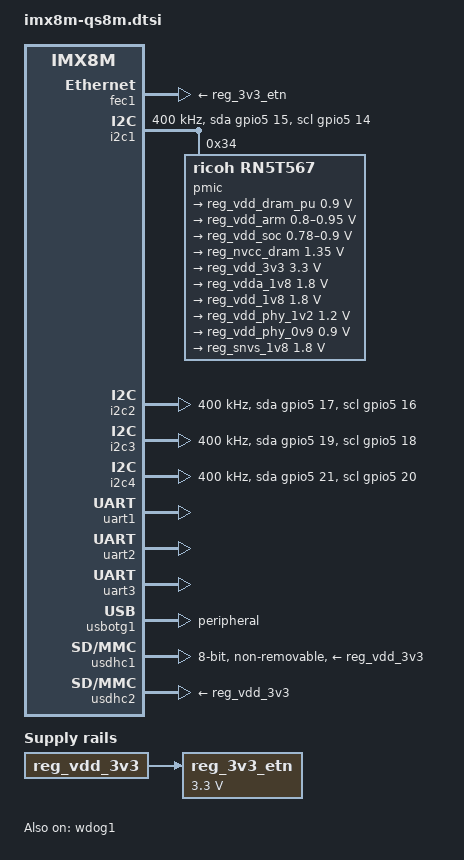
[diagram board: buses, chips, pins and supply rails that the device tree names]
// SPDX-License-Identifier: (GPL-2.0 OR MIT)
/*
 * Copyright (C) 2021 Lothar Waßmann <LW@KARO-electronics.de>
 *
 */

/ {
	aliases {
		i2c0 = &i2c1;
		i2c1 = &i2c2;
		i2c2 = &i2c3;
		mmc0 = &usdhc1;
		mmc1 = &usdhc2;
		usbotg = &usbotg1;
	};

	chosen {
		stdout-path = "serial0:115200";
	};

	display-subsystem {
		status = "disabled";
	};

	reg_3v3_etn: regulator-3v3-etn {
		compatible = "regulator-fixed";
		regulator-name = "3v3-etn";
		regulator-min-microvolt = <3300000>;
		regulator-max-microvolt = <3300000>;
		startup-delay-us = <25000>;
		vin-supply = <&reg_vdd_3v3>;

		regulator-state-mem {
			regulator-off-in-suspend;
		};
	};

	thermal-zones {
		cpu-thermal {
			cooling-maps {
				map0 {
					cooling-device =
						<&A53_0 THERMAL_NO_LIMIT THERMAL_NO_LIMIT>,
						<&A53_1 THERMAL_NO_LIMIT THERMAL_NO_LIMIT>;
				};
			};
		};
	};
};

&A53_0 {
	cpu-supply = <&reg_vdd_arm>;
};

&A53_1 {
	cpu-supply = <&reg_vdd_arm>;
};

&fec1 {
	phy-supply = <&reg_3v3_etn>;
};

&i2c1 {
	pinctrl-names = "default", "gpio";
	pinctrl-0 = <&pinctrl_i2c1>;
	pinctrl-1 = <&pinctrl_i2c1_gpio>;
	scl-gpios = <&gpio5 14 (GPIO_ACTIVE_HIGH | GPIO_OPEN_DRAIN)>;
	sda-gpios = <&gpio5 15 (GPIO_ACTIVE_HIGH | GPIO_OPEN_DRAIN)>;
	clock-frequency = <400000>;
	status = "okay";

	pmic@34 {
		compatible = "ricoh,rn5t567";
		reg = <0x34>;
		system-power-controller;

		regulators {
			reg_vdd_dram_pu: DCDC1 {
				regulator-name = "vdd_dram_pu_0v9";
				regulator-min-microvolt = <900000>;
				regulator-max-microvolt = <900000>;
				regulator-ramp-delay = <14000>;
				regulator-boot-on;
				regulator-always-on;

				regulator-state-mem {
					regulator-on-in-suspend;
				};
			};

			reg_vdd_arm: DCDC2 {
				regulator-name = "vdd_arm_0v9";
				regulator-min-microvolt = <800000>;
				regulator-max-microvolt = <950000>;
				regulator-ramp-delay = <14000>;
				regulator-boot-on;
				regulator-always-on;

				regulator-state-mem {
					regulator-on-in-suspend;
				};
			};

			reg_vdd_soc: DCDC3 {
				regulator-name = "vdd_soc_0v8";
				regulator-min-microvolt = <780000>;
				regulator-max-microvolt = <900000>;
				regulator-ramp-delay = <14000>;
				regulator-boot-on;
				regulator-always-on;

				regulator-state-mem {
					regulator-on-in-suspend;
				};
			};

			reg_nvcc_dram: DCDC4 {
				regulator-name = "nvcc_dram";
				regulator-min-microvolt = <1350000>;
				regulator-max-microvolt = <1350000>;
				regulator-ramp-delay = <14000>;
				regulator-boot-on;
				regulator-always-on;

				regulator-state-mem {
					regulator-on-in-suspend;
				};
			};

			reg_vdd_3v3: LDO1 {
				regulator-name = "vdd_3v3";
				regulator-min-microvolt = <3300000>;
				regulator-max-microvolt = <3300000>;
				regulator-boot-on;
				regulator-always-on;

				regulator-state-mem {
					regulator-on-in-suspend;
				};
			};

			reg_vdda_1v8: LDO2 {
				regulator-name = "vdda_1v8";
				regulator-min-microvolt = <1800000>;
				regulator-max-microvolt = <1800000>;
				regulator-boot-on;
				regulator-always-on;

				regulator-state-mem {
					regulator-on-in-suspend;
				};
			};

			reg_vdd_1v8: LDO3 {
				regulator-name = "vdd_1v8";
				regulator-min-microvolt = <1800000>;
				regulator-max-microvolt = <1800000>;
				regulator-boot-on;
				regulator-always-on;

				regulator-state-mem {
					regulator-on-in-suspend;
				};
			};

			reg_vdd_phy_1v2: LDO4 {
				regulator-name = "vdd_phy_1v2";
				regulator-min-microvolt = <1200000>;
				regulator-max-microvolt = <1200000>;
				regulator-boot-on;
				regulator-always-on;

				regulator-state-mem {
					regulator-off-in-suspend;
				};
			};

			reg_vdd_phy_0v9: LDO5 {
				regulator-name = "vdd_phy_0v9";
				regulator-min-microvolt = <900000>;
				regulator-max-microvolt = <900000>;
				regulator-boot-on;
				regulator-always-on;

				regulator-state-mem {
					regulator-off-in-suspend;
				};
			};

			reg_snvs_1v8: LDORTC1 {
				regulator-name = "nvcc_snvs_1v8";
				regulator-min-microvolt = <1800000>;
				regulator-max-microvolt = <1800000>;
				regulator-boot-on;
				regulator-always-on;

				regulator-state-mem {
					regulator-on-in-suspend;
				};
			};
		};
	};
};

&i2c2 {
	pinctrl-names = "default", "gpio";
	pinctrl-0 = <&pinctrl_i2c2>;
	pinctrl-1 = <&pinctrl_i2c2_gpio>;
	scl-gpios = <&gpio5 16 (GPIO_ACTIVE_HIGH | GPIO_OPEN_DRAIN)>;
	sda-gpios = <&gpio5 17 (GPIO_ACTIVE_HIGH | GPIO_OPEN_DRAIN)>;
	clock-frequency = <400000>;
	status = "okay";
};

&i2c3 {
	pinctrl-names = "default", "gpio";
	pinctrl-0 = <&pinctrl_i2c3>;
	pinctrl-1 = <&pinctrl_i2c3_gpio>;
	scl-gpios = <&gpio5 18 (GPIO_ACTIVE_HIGH | GPIO_OPEN_DRAIN)>;
	sda-gpios = <&gpio5 19 (GPIO_ACTIVE_HIGH | GPIO_OPEN_DRAIN)>;
	clock-frequency = <400000>;
	status = "okay";
};

&i2c4 {
	pinctrl-names = "default", "gpio";
	pinctrl-0 = <&pinctrl_i2c4>;
	pinctrl-1 = <&pinctrl_i2c4_gpio>;
	scl-gpios = <&gpio5 20 (GPIO_ACTIVE_HIGH | GPIO_OPEN_DRAIN)>;
	sda-gpios = <&gpio5 21 (GPIO_ACTIVE_HIGH | GPIO_OPEN_DRAIN)>;
	clock-frequency = <400000>;
	status = "okay";
};

&resmem {
	/* overwrite freescale cma setting since it's not allocatable */
	linux,cma {
		size = <0 0x18000000>;
		alloc-ranges = <0 0x40000000 0 0x20000000>;
	};
};

&uart1 { /* console */
	pinctrl-names = "default";
	pinctrl-0 = <&pinctrl_uart1>;
	status = "okay";
};

&uart2 {
	pinctrl-names = "default";
	pinctrl-0 = <&pinctrl_uart2 &pinctrl_uart2_rtscts>;
	dmas = <&sdma1 24 4 0>, <&sdma1 25 4 0>;
	dma-names = "rx", "tx";
	uart-has-rtscts;
	status = "okay";
};

&uart3 {
	pinctrl-names = "default";
	pinctrl-0 = <&pinctrl_uart3>;
	status = "okay";
};

&usbotg1 {
	dr_mode = "peripheral";
	status = "okay";
};

&usdhc1 { /* eMMC */
	pinctrl-names = "default", "state_100mhz", "state_200mhz";
	pinctrl-0 = <&pinctrl_usdhc1>;
	pinctrl-1 = <&pinctrl_usdhc1_100mhz>;
	pinctrl-2 = <&pinctrl_usdhc1_200mhz>;
	bus-width = <8>;
	vmmc-supply = <&reg_vdd_3v3>;
	vqmmc-supply = <&reg_vdd_1v8>;
	non-removable;
	status = "okay";
};

&usdhc2 {
	pinctrl-names = "default";
	pinctrl-0 = <&pinctrl_usdhc2>;
	vmmc-supply = <&reg_vdd_3v3>;
	vqmmc-supply = <&reg_vdd_3v3>;
	voltage-ranges = <3300 3300>;
};

&wdog1 {
	status = "okay";
};
